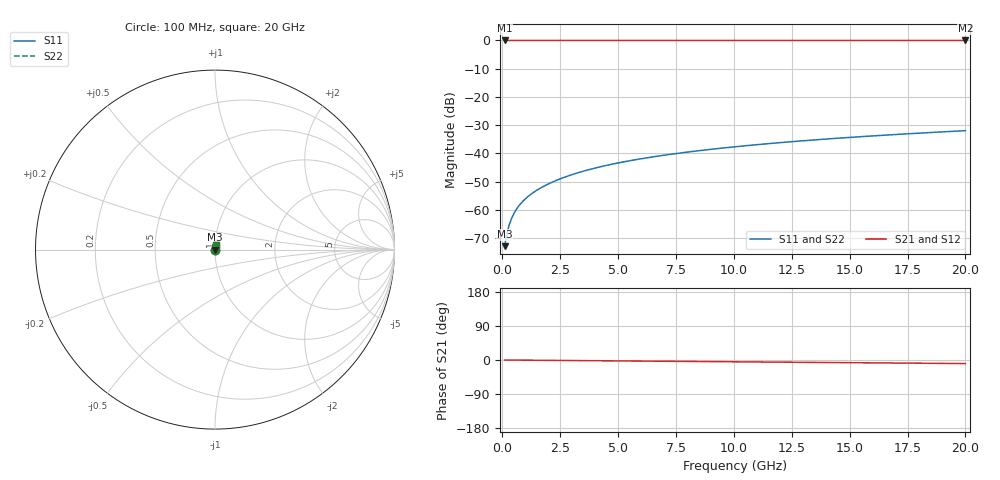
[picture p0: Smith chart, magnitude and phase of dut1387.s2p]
! Touchstone file exported from HFSS 2026.1.0
!  File:  C:/ffzhzh/LocalFiles/Ansys_Project_Files/temp_train_TSV_1387_1783196598_22436.aedt
!  Generated:  04:24:41 AM Jul  5, 2026
!  Design:  TSV
!  Project:  temp_train_TSV_1387_1783196598_22436
! Variables:
!  h_bsmrdl = 2um
!  h_ox = 20um
!  h_rdl = 5um
!  h_sub = 93.43um
!  h_tmrdl = 5um
!  h_tsv = 93.43um
!  h_via = 3um
!  l_bsmrdl = 300um
!  l_sub = 419.74um
!  l_tmrdl = 200um
!  m_sub = 200um
!  pitch = 47.99um
!  r_tsv = 9.87um
!  s_tmrdl = 10um
!  w_bsmrdl = 18um
!  w_sub = 500um
!  w_tmrdl = 12um
!  x_tsv_center1 = 206um
!  x_tsv_center2 = 524um
!  x_tsv_center3 = 736um
!  x_tsv_center4 = 1054um
!  x_tsv_center5 = 1266um
!  x_tsv_center6 = 1584um
# GHz S MA R 50.000000
! Terminal data exported
! Port[1] = TSV1_1_T1
! Port[2] = TSV1_1_T2
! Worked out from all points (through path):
!   200 points, 100 MHz to 20 GHz, reference 50 ohm
!   highest |S21| = 0.00 dB at 100 MHz (marker M1); lowest = 0.0 dB at 20 GHz (marker M2)
!   group delay of S21, straight-line fit = 1.3 ps
!   lowest |S11| = -72.9 dB at 100 MHz (marker M3), VSWR 1.00, Z = 50 + j0.0174 ohm
!   |S11| at or under -10 dB: start of sweep to end of sweep
!   |S22| runs from -72.9 to -32.0 dB; largest |S21 - S12| = 1.3e-15
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0.1  0.0002261 50.1  0.9999 -0.0  0.9999 -0.0  0.0002261 50.1
! Gamma 0 0 0 0
! Port Impedance 50 0 50 0
0.2  0.0003788 65.4  0.9998 -0.1  0.9998 -0.1  0.0003788 65.4
0.3  0.0005402 70.8  0.9998 -0.1  0.9998 -0.1  0.0005402 70.8
0.4  0.0006997 73.3  0.9998 -0.2  0.9998 -0.2  0.0006997 73.3
0.5  0.0008546 74.5  0.9998 -0.2  0.9998 -0.2  0.0008546 74.5
0.6  0.001005 75.3  0.9997 -0.3  0.9997 -0.3  0.001005 75.3
0.7  0.00115 75.8  0.9997 -0.3  0.9997 -0.3  0.00115 75.8
0.8  0.001291 76.2  0.9997 -0.4  0.9997 -0.4  0.001291 76.2
1  0.001566 76.9  0.9997 -0.5  0.9997 -0.5  0.001566 76.9
1.4  0.002096 78.2  0.9996 -0.7  0.9996 -0.7  0.002096 78.2
1.7  0.002488 79.0  0.9996 -0.8  0.9996 -0.8  0.002488 78.9
2  0.002879 79.6  0.9995 -1.0  0.9995 -1.0  0.002879 79.6
2.7  0.003789 80.6  0.9995 -1.3  0.9995 -1.3  0.003789 80.6
3.5  0.004826 81.1  0.9994 -1.7  0.9994 -1.7  0.004826 81.1
4.2  0.005726 81.4  0.9993 -2.0  0.9993 -2.0  0.005726 81.4
5  0.006748 81.5  0.9993 -2.4  0.9993 -2.4  0.006748 81.5
6.8  0.009019 81.4  0.9991 -3.2  0.9991 -3.2  0.009019 81.4
8.3  0.01089 81.1  0.999 -3.9  0.999 -3.9  0.01089 81.1
10.1  0.01312 80.7  0.9989 -4.8  0.9989 -4.8  0.01312 80.7
13.4  0.01718 79.7  0.9987 -6.3  0.9987 -6.3  0.01718 79.7
16.7  0.0212 78.6  0.9985 -7.9  0.9985 -7.9  0.0212 78.6
20  0.02517 77.3  0.9982 -9.4  0.9982 -9.4  0.02517 77.3
